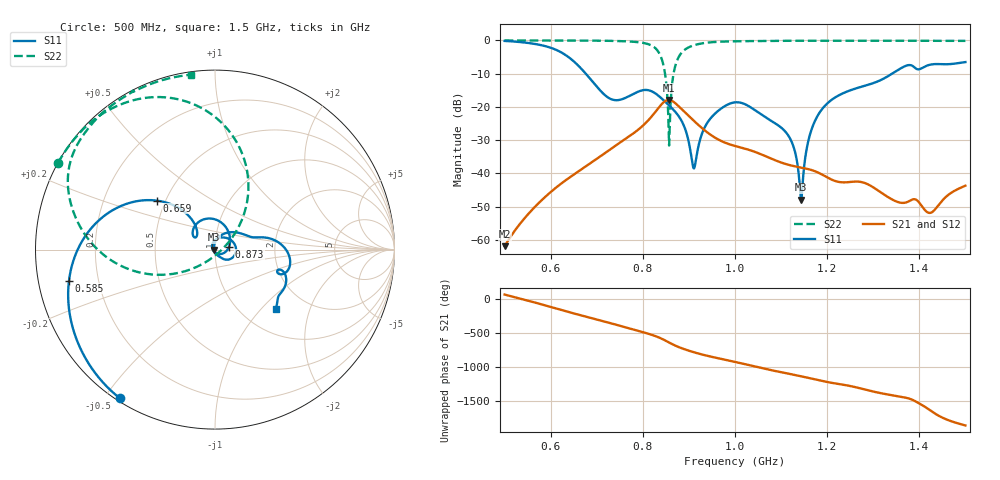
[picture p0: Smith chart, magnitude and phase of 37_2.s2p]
! TOUCHSTONE file generated by CST MICROWAVE STUDIO
! Date and time: Fri Oct  2 16:19:15 2020
! Project name: Scenario_1_Free_Space_out_of_line.cst
! Parameters = {Lambda=346.42; Step_1=17.321; dy1=-276.636; dx1=346; L_HA=400; MT=2.54; Rad_Dielectric=30; Rad_Lower=7.3; Rad_Upper=30; a_HA=580; a_WG=246; b_HA=500; b_WG=121; c_HA=0; c_WG=187; d_feed=85; h_feed=15; h_lower=18; h_upper=40}
! Header version: 2018
! Port assignment regex: !\s*Touchstone port\s*([0-9]+)\s*=\s*(CST MWS port|CST DS port)\s*([0-9]+|Zmin|Zmax)\s*\(\"(.*)\"\)(\s*mode\s*([0-9]+))?.*
! Touchstone port assignment:
! Touchstone port 1 = CST MWS port 1 ("")
! Touchstone port 2 = CST MWS port 2 ("")
# GHz S DB R 50
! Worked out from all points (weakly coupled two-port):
!   1003 points, 500 MHz to 1.5 GHz, reference 50 ohm
!   highest |S21| = -17.91 dB at 856 MHz (marker M1); lowest = -61.9 dB at 500 MHz (marker M2)
!   lowest |S11| = -48.0 dB at 1.144 GHz (marker M3), VSWR 1.01, Z = 49.6 - j0.0101 ohm
!   |S11| at or under -10 dB: 676.1 MHz to 1.341 GHz (664.8 MHz wide, 65.9 % of centre)
!   |S22| runs from -31.6 to 0.0 dB; largest |S21 - S12| = 3e-05
!   S11 on the Smith chart (normalised r, x): 500 MHz: 0.01, -0.55; 585 MHz: 0.09, -0.10; 659 MHz: 0.45, +0.30; 873 MHz: 1.17, +0.04; 1.5 GHz: 1.42, -1.21
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0.5  -0.15 -122.7  -61.94 58.9  -61.94 58.9  -0.01 151.1
0.585  -1.60 -168.0  -47.50 -93.8  -47.50 -93.8  -0.02 145.2
0.659  -7.46 139.9  -39.55 126.7  -39.55 126.7  -0.04 139.1
0.667  -8.60 135.6  -38.80 112.3  -38.80 112.3  -0.04 138.3
0.733  -17.77 140.4  -32.42 -5.7  -32.42 -5.7  -0.14 130.2
0.795  -15.16 128.6  -26.28 -121.3  -26.28 -121.3  -0.61 115.0
0.834  -16.66 70.5  -20.32 153.4  -20.32 153.4  -3.48 83.6
0.846  -18.13 52.9  -18.51 116.3  -18.51 116.3  -8.29 61.1
0.856  -19.44 38.6  -17.91 80.9  -17.91 80.9  -26.66 9.2
0.873  -21.93 11.7  -19.20 24.6  -19.20 24.6  -6.52 -165.7
0.892  -26.71 -29.7  -21.76 -24.6  -21.76 -24.6  -2.69 173.0
0.911  -38.54 -150.2  -24.25 -65.3  -24.25 -65.3  -1.45 161.9
0.941  -24.57 81.5  -27.80 -118.8  -27.80 -118.8  -0.65 151.5
1  -18.64 3.5  -31.77 153.9  -31.77 153.9  -0.26 140.1
1.111  -27.74 -61.8  -37.24 -11.6  -37.24 -11.6  -0.11 128.7
1.129  -32.90 -76.2  -37.88 -36.1  -37.87 -36.1  -0.10 127.2
1.144  -47.95 -178.5  -38.29 -57.3  -38.29 -57.4  -0.10 125.9
1.167  -26.46 86.1  -39.05 -92.3  -39.05 -92.3  -0.10 124.1
1.213  -17.56 47.2  -42.09 -156.1  -42.09 -156.1  -0.09 120.6
1.334  -10.60 12.9  -47.33 34.1  -47.33 34.2  -0.09 111.4
1.424  -7.29 -23.3  -51.91 163.8  -51.91 163.8  -0.11 104.3
1.5  -6.52 -44.2  -43.73 -55.5  -43.77 -55.7  -0.14 97.8
